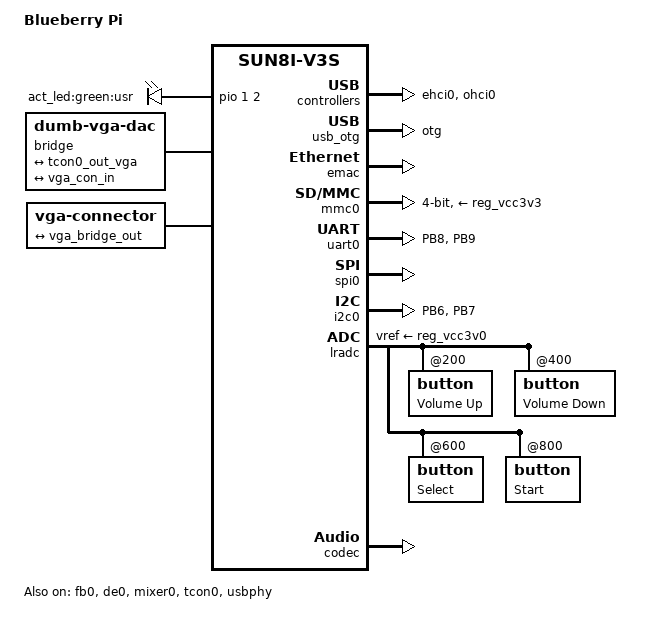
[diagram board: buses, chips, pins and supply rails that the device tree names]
/dts-v1/;
#include "sun8i-v3s.dtsi"
#include "sunxi-common-regulators.dtsi"
#include <dt-bindings/input/input.h>
/ {

	model = "Blueberry Pi";
	compatible = "blueberrypi", "allwinner,sun8i-v3s";

	
	aliases {
		serial0 = &uart0;
		ethernet0 = &emac;
		
	};

	chosen {
		stdout-path = "serial0:115200n8";
		
		};

	leds {
	compatible = "gpio-leds";

	act_led {
		label = "act_led:green:usr";
		gpios = <&pio 1 2 GPIO_ACTIVE_HIGH>; /* PB2 */
		linux,default-trigger = "mmc0";
		default-state = "off";
	};
	};
	
	bridge {
		compatible = "dumb-vga-dac";
		#address-cells = <1>;
		#size-cells = <0>;
		status = "okay";
		ports {
			#address-cells = <1>;
			#size-cells = <0>;

			port@0 {
				reg = <0>;

				vga_bridge_in: endpoint {
					remote-endpoint = <&tcon0_out_vga>;
				};
			};

			port@1 {
				reg = <1>;

				vga_bridge_out: endpoint {
					remote-endpoint = <&vga_con_in>;
				};
			};
		};
	};

	vga {
		compatible = "vga-connector";

		port {
			vga_con_in: endpoint {
				remote-endpoint = <&vga_bridge_out>;
			};
		};
	};

};

&fb0 {
	status = "okay";
};


&de0 {
	status = "okay";
};

&display_clocks {
	status = "okay";
};

&mixer0 {
	status = "okay";
};


&tcon0 {
	pinctrl-names = "default";
	pinctrl-0 = <&rgb_pins>;
	status = "okay";
};

&tcon0_out {
	tcon0_out_vga: endpoint@0 {
		reg = <0>;
		remote-endpoint = <&vga_bridge_in>;
	};
};


&ehci0 {
        status = "okay";
}; 

&ohci0 {
        status = "okay";
}; 

&usb_otg {
	dr_mode = "otg";
	status = "okay";
};

&usbphy {
	usb0_id_det-gpio = <&pio 5 6 GPIO_ACTIVE_HIGH>;
	status = "okay";
};

&emac {
	allwinner,leds-active-high;
	status = "okay";
};

&mmc0 {
	pinctrl-0 = <&mmc0_pins>;
	pinctrl-names = "default";
	broken-cd;
	bus-width = <4>;
	vmmc-supply = <&reg_vcc3v3>;
	status = "okay";
};

&uart0 {
	pinctrl-0 = <&uart0_pins>;
	pinctrl-names = "default";
	status = "okay";
};

&spi0 {
	status = "okay";
};

&i2c0 {
	pinctrl-0 = <&i2c0_pins>;
	pinctrl-names = "default";
	status = "okay";
};

&lradc {
	vref-supply = <&reg_vcc3v0>;
	status = "okay";

	button@200 {
		label = "Volume Up";
		linux,code = <KEY_VOLUMEUP>;
		channel = <0>;
		voltage = <200000>;
	};

	button@400 {
		label = "Volume Down";
		linux,code = <KEY_VOLUMEDOWN>;
		channel = <0>;
		voltage = <400000>;
	};

	button@600 {
		label = "Select";
		linux,code = <KEY_SELECT>;
		channel = <0>;
		voltage = <600000>;
	};

	button@800 {
		label = "Start";
		linux,code = <KEY_OK>;
		channel = <0>;
		voltage = <800000>;
	};
};

&codec {
	allwinner,audio-routing = "Headphone", "HP", "Headphone", "HPCOM", "Mic", "MIC1";
	status = "okay";
};
		
&pio {

	rgb_pins: rgb_pins@0 {
	        pins = "PE0", "PE1", "PE2", "PE3", "PE4",
		       "PE5", "PE6", "PE7", "PE8", "PE9",
		       "PE10", "PE11", "PE12", "PE13", "PE14",
		       "PE15", "PE16", "PE17", "PE18", "PE19",
		       "PE23", "PE24";
	        function = "lcd";
    	};

	i2c0_pins: i2c0 {
		pins = "PB6", "PB7";
		function = "i2c0";
	};

	i2c1_pins: i2c1 {
		pins = "PE21", "PE22";
		function = "i2c1";
	};
	

	uart0_pins: uart0@0 {
	 	pins = "PB8", "PB9";
		function = "uart0";
	};

};

